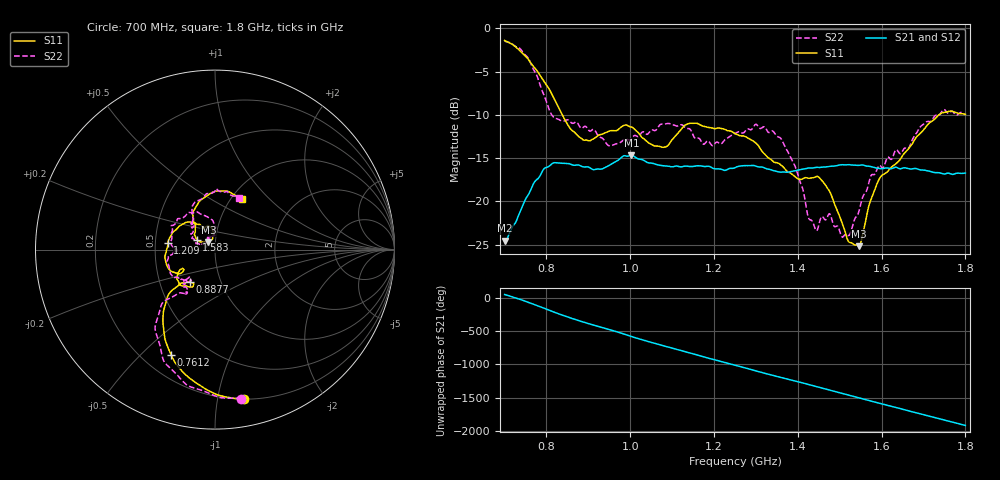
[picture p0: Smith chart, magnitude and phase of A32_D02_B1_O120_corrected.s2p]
! Created with skrf 1.9.0 (http://scikit-rf.org).
# Hz S RI R 50.0
!freq ReS11 ImS11 ReS21 ImS21 ReS12 ImS12 ReS22 ImS22
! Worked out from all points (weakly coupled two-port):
!   1601 points, 700 MHz to 1.8 GHz, reference 50 ohm
!   highest |S21| = -14.67 dB at 1.002 GHz (marker M1); lowest = -24.5 dB at 701.4 MHz (marker M2)
!   lowest |S11| = -25.2 dB at 1.545 GHz (marker M3), VSWR 1.12, Z = 46.3 + j3.85 ohm
!   |S11| at or under -10 dB: 837.8 MHz to 1.737 GHz (898.7 MHz wide, 69.8 % of centre)
!   |S22| runs from -24.1 to -1.5 dB; largest |S21 - S12| = 0.0034
!   S11 on the Smith chart (normalised r, x): 700 MHz: 0.20, -1.19; 761.2 MHz: 0.31, -0.62; 887.7 MHz: 0.71, -0.27; 1.209 GHz: 0.58, +0.05; 1.583 GHz: 0.81, +0.09; 1.8 GHz: 1.12, +0.70
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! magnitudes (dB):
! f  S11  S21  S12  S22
! 700 MHz  -1.4  -24.5  -24.3  -1.5
! 701.4 MHz  -1.4  -24.5  -24.2  -1.5
! 761.2 MHz  -3.9  -18.8  -18.7  -3.9
! 814.1 MHz  -7.7  -15.6  -15.7  -10.1
! 883.6 MHz  -12.8  -15.9  -15.8  -11.6
! 887.7 MHz  -12.9  -16.0  -15.9  -11.4
! 950.2 MHz  -11.9  -15.8  -15.8  -13.6
! 1.002 GHz  -11.4  -14.7  -14.8  -12.8
! 1.067 GHz  -13.6  -15.8  -15.7  -11.4
! 1.139 GHz  -11.0  -15.9  -15.9  -11.6
! 1.209 GHz  -11.5  -16.2  -16.3  -13.2
! 1.25 GHz  -12.2  -16.1  -16.0  -12.2
! 1.3 GHz  -13.3  -15.9  -15.9  -11.1
! 1.359 GHz  -15.8  -16.6  -16.6  -12.7
! 1.434 GHz  -17.3  -16.1  -16.1  -22.2
! 1.476 GHz  -18.8  -15.9  -16.0  -21.4
! 1.509 GHz  -22.9  -15.8  -15.7  -24.0
! 1.545 GHz  -25.2  -15.8  -15.8  -21.3
! 1.583 GHz  -18.7  -16.1  -16.1  -16.9
! 1.617 GHz  -16.4  -16.2  -16.1  -14.9
! 1.738 GHz  -9.9  -16.7  -16.7  -10.0
! 1.8 GHz  -9.9  -16.7  -16.7  -10.0
